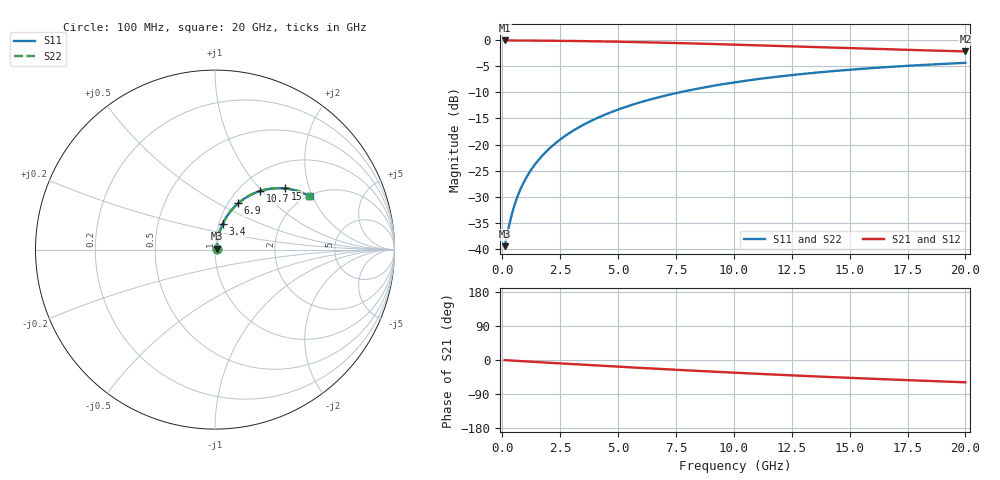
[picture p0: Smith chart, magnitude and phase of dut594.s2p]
! Touchstone file exported from HFSS 2026.1.0
!  File:  C:/ffzhzh/LocalFiles/Ansys_Project_Files/temp_train_BSMRDL_594_1783015921_53980.aedt
!  Generated:  02:13:36 AM Jul  3, 2026
!  Design:  BSMRDL
!  Project:  temp_train_BSMRDL_594_1783015921_53980
! Variables:
!  h_bsmrdl = 2.95um
!  h_ox = 20um
!  h_rdl = 5um
!  h_sub = 80um
!  h_tmrdl = 5um
!  h_tsv = 80um
!  h_via = 3um
!  l_bsmrdl = 857.22um
!  l_sub = 1257.22um
!  l_tmrdl = 200um
!  m_sub = 200um
!  pitch = 41.96um
!  r_tsv = 6um
!  s_tmrdl = 10um
!  w_bsmrdl = 10.55um
!  w_sub = 500um
!  w_tmrdl = 12um
!  x_tsv_center1 = 206um
!  x_tsv_center2 = 1073.77um
!  x_tsv_center3 = 1285.77um
!  x_tsv_center4 = 2153.54um
!  x_tsv_center5 = 2365.54um
!  x_tsv_center6 = 3233.31um
# GHz S MA R 50.000000
! Terminal data exported
! Port[1] = BSM_RDL1_1_T1
! Port[2] = BSM_RDL1_1_T2
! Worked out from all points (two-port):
!   200 points, 100 MHz to 20 GHz, reference 50 ohm
!   highest |S21| = -0.08 dB at 100 MHz (marker M1); lowest = -2.2 dB at 20 GHz (marker M2)
!   |S21| within 3 dB of the highest: start of sweep to end of sweep
!   lowest |S11| = -39.4 dB at 100 MHz (marker M3), VSWR 1.02, Z = 51 + j0.472 ohm
!   |S11| at or under -10 dB: start of sweep to 7.657 GHz
!   |S22| runs from -39.4 to -4.4 dB; largest |S21 - S12| = 2.4e-15
!   S11 on the Smith chart (normalised r, x): 100 MHz: 1.02, +0.01; 3.4 GHz: 1.04, +0.31; 6.9 GHz: 1.11, +0.63; 10.7 GHz: 1.25, +0.98; 15 GHz: 1.51, +1.41; 20 GHz: 2.03, +1.90
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0.1  0.0107 25.6  0.9904 -0.4  0.9904 -0.4  0.0107 25.6
! Gamma 0 0 0 0
! Port Impedance 50 0 50 0
0.3  0.01709 53.9  0.9901 -1.1  0.9901 -1.1  0.01709 53.9
0.4  0.02109 60.4  0.9899 -1.5  0.9899 -1.5  0.02109 60.4
0.6  0.02952 67.6  0.9894 -2.2  0.9894 -2.2  0.02952 67.6
0.9  0.04248 72.3  0.9886 -3.3  0.9886 -3.3  0.04248 72.3
1.2  0.05552 74.4  0.9876 -4.3  0.9876 -4.3  0.05552 74.4
1.6  0.07293 75.4  0.9863 -5.8  0.9863 -5.8  0.07293 75.4
2.1  0.09467 75.5  0.9842 -7.5  0.9842 -7.5  0.09467 75.5
2.7  0.1206 74.8  0.981 -9.7  0.981 -9.7  0.1206 74.8
3.4  0.1504 73.3  0.9766 -12.1  0.9766 -12.1  0.1504 73.3
3.5  0.1547 73.0  0.9759 -12.5  0.9759 -12.5  0.1547 73.1
4.2  0.1839 71.2  0.9705 -14.9  0.9705 -14.9  0.1839 71.2
5  0.2163 69.0  0.9634 -17.6  0.9634 -17.6  0.2163 69.0
6.8  0.2855 63.6  0.9443 -23.6  0.9443 -23.6  0.2855 63.6
6.9  0.2891 63.3  0.9432 -23.9  0.9432 -23.9  0.2891 63.3
8.4  0.3417 58.8  0.9248 -28.6  0.9248 -28.6  0.3417 58.9
10.1  0.3958 53.9  0.9023 -33.8  0.9023 -33.8  0.3958 53.9
10.7  0.4135 52.2  0.8942 -35.5  0.8942 -35.5  0.4135 52.2
13.4  0.4842 45.0  0.8575 -43.0  0.8575 -43.0  0.4842 45.0
15  0.5198 40.9  0.8364 -47.1  0.8364 -47.1  0.5198 40.9
16.7  0.5529 36.8  0.8151 -51.3  0.8151 -51.3  0.5529 36.9
20  0.6048 29.5  0.7781 -58.8  0.7781 -58.8  0.6048 29.5
